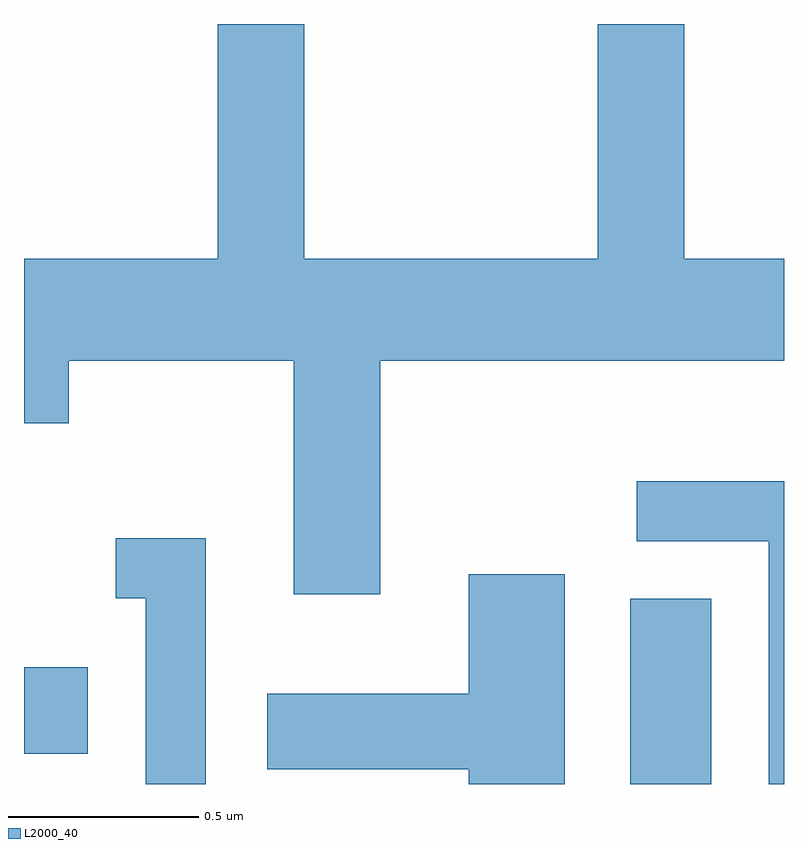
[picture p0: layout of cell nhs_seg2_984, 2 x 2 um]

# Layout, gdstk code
import gdstk
lib = gdstk.Library(unit=1e-6, precision=1e-09)
def R(c, l, rs):  # rectangles x0, y0, x1, y1
    for r in rs: c.add(gdstk.rectangle(r[:2], r[2:], *l))
def P(c, l, *ps):  # polygons
    for p in ps: c.add(gdstk.Polygon(p, *l))
L2000_40 = (2000, 40)

nhs_seg2_984 = lib.new_cell('nhs_seg2_984')
R(nhs_seg2_984, L2000_40, [(194.206,1002.802,194.419,1003.289), (192.611,1002.881,192.779,1003.109)])
P(nhs_seg2_984, L2000_40, [(193.549,1003.916),(194.611,1003.916),(194.611,1004.184),(194.349,1004.184),(194.349,1004.802),(194.121,1004.802),(194.121,1004.184),(193.349,1004.184),(193.349,1004.802),(193.121,1004.802),(193.121,1004.184),(192.611,1004.184),(192.611,1003.751),(192.729,1003.751),(192.729,1003.916),(193.321,1003.916),(193.321,1003.301),(193.549,1003.301)],
  [(194.611,1003.599),(194.223,1003.599),(194.223,1003.441),(194.571,1003.441),(194.571,1002.802),(194.611,1002.802)],
  [(193.089,1003.449),(192.853,1003.449),(192.853,1003.291),(192.931,1003.291),(192.931,1002.802),(193.089,1002.802)],
  [(194.034,1003.354),(193.781,1003.354),(193.781,1003.039),(193.251,1003.039),(193.251,1002.841),(193.781,1002.841),(193.781,1002.802),(194.034,1002.802)])

lib.write_gds('nhs_seg2_984.gds')
